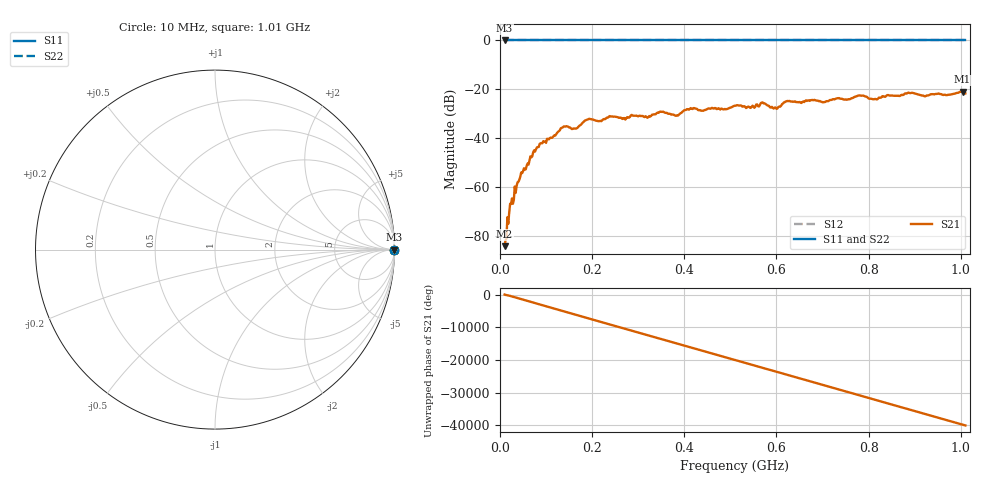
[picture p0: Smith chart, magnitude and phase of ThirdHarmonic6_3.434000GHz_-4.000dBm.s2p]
! 8/17/2025 11:03:02 AM
! C:\ANRITSUVNA\TEMP\TEMP.S2P
! CHANNEL.1
! TR.MEASUREMENT
! RAW.DATA
! RF.CORRECTION.OFF
! AVERAGING.OFF
! IF.BANDWIDTH: 5KHZ
! SWEEPTYPE:  FREQ.SWEEP(Linear)
! Reference Plane Port Info
! PORT:  PORT1  PORT2
! DISTANCE:  0  m  0  m
! TIME:  0  s  0  s
! PHASE.OFFSET:  0  deg.  0  deg.
! LOSS:  0  dB  0  dB
! REF.LOSS:  0  dB  0  dB
! REF.FREQ:  0  Hz  0  Hz
! Power Info
! POWER:  -20  dBm  -20  dBm
! EFF.POWER:  -20  dBm  -20  dBm
! SOURCE.ATTEN:  0  dB  0  dB
! TEST.ATTEN:  0  dB  0  dB
# GHZ S RI R 50.0
! FREQ.GHZ  S11RE  S11IM  S21RE  S21IM  S12RE  S12IM  S22RE  S22IM
!; PortSelection: Port_12
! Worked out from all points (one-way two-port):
!   501 points, 10 MHz to 1.01 GHz, reference 50 ohm
!   highest |S21| = -20.95 dB at 1.004 GHz (marker M1); lowest = -84.1 dB at 10 MHz (marker M2)
!   lowest |S11| = 0.0 dB at 10 MHz (marker M3)
!   |S11| at or under -10 dB: nowhere
!   |S22| runs from 0.0 to 0.0 dB; largest |S21 - S12| = 1.1
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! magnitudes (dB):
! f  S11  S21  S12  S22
! 10 MHz  0.0  -84.1  0.0  0.0
! 24 MHz  0.0  -66.9  0.0  0.0
! 36 MHz  0.0  -59.6  0.0  0.0
! 76 MHz  0.0  -45.4  0.0  0.0
! 136 MHz  0.0  -35.6  0.0  0.0
! 162 MHz  0.0  -36.0  0.0  0.0
! 178 MHz  0.0  -33.9  0.0  0.0
! 192 MHz  0.0  -32.2  0.0  0.0
! 322 MHz  0.0  -31.3  0.0  0.0
! 344 MHz  0.0  -29.6  0.0  0.0
! 384 MHz  0.0  -30.6  0.0  0.0
! 410 MHz  0.0  -28.3  0.0  0.0
! 510 MHz  0.0  -26.7  0.0  0.0
! 570 MHz  0.0  -25.4  0.0  0.0
! 598 MHz  0.0  -27.4  0.0  0.0
! 624 MHz  0.0  -24.7  0.0  0.0
! 678 MHz  0.0  -24.3  0.0  0.0
! 782 MHz  0.0  -22.6  0.0  0.0
! 814 MHz  0.0  -23.9  0.0  0.0
! 844 MHz  0.0  -22.5  0.0  0.0
! 1.004 GHz  0.0  -20.9  0.0  0.0
! 1.01 GHz  0.0  -21.6  0.0  0.0
